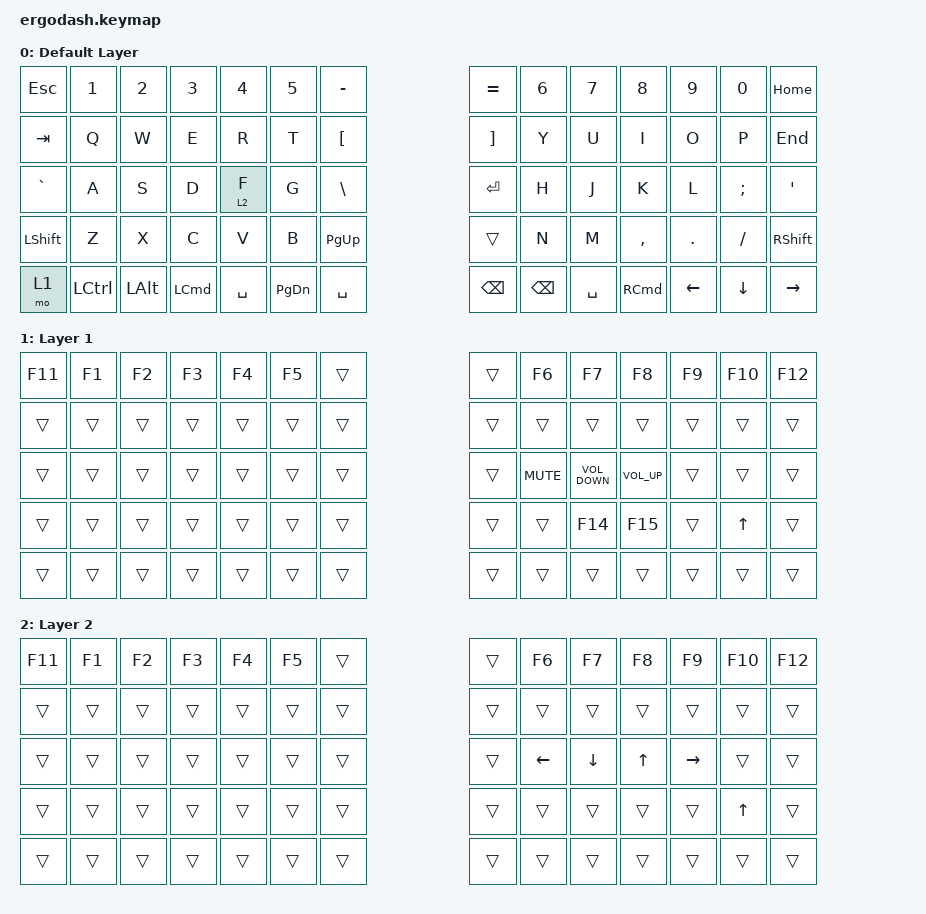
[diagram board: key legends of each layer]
/*
 * Copyright (c) 2020 The ZMK Contributors
 *
 * SPDX-License-Identifier: MIT
 */

#include <behaviors.dtsi>
#include <dt-bindings/zmk/keys.h>
#include <dt-bindings/zmk/bt.h>

#define DEFAULT 0
#define LOWER   1
#define RAISE   2

/ {
    keymap {
        compatible = "zmk,keymap";

        default_layer {
            display-name = "Default Layer";
            bindings = <
&kp ESC    &kp N1     &kp N2        &kp N3            &kp N4     &kp N5  &kp MINUS                                   &kp EQUAL          &kp N6  &kp N7     &kp N8             &kp N9    &kp N0          &kp HOME
&kp TAB    &kp Q      &kp W         &kp E             &kp R      &kp T   &kp LEFT_BRACKET                            &kp RIGHT_BRACKET  &kp Y   &kp U      &kp I              &kp O     &kp P           &kp END
&kp GRAVE  &kp A      &kp S         &kp D             &lt 2 F    &kp G   &kp BACKSLASH                               &kp ENTER          &kp H   &kp J      &kp K              &kp L     &kp SEMI        &kp SQT
&kp LSHFT  &kp Z      &kp X         &kp C             &kp V      &kp B   &kp PG_UP         &trans                                       &kp N   &kp M      &kp COMMA          &kp DOT   &kp SLASH       &kp RSHFT
&mo 1      &kp LCTRL  &kp LEFT_ALT  &kp LEFT_COMMAND  &kp SPACE          &kp PG_DN         &kp SPACE  &kp BACKSPACE  &kp BACKSPACE              &kp SPACE  &kp RIGHT_COMMAND  &kp LEFT  &kp DOWN_ARROW  &kp RIGHT
            >;
        };

        layer1 {
            display-name = "Layer 1";
            bindings = <
&kp F11  &kp F1  &kp F2  &kp F3  &kp F4  &kp F5  &trans                  &trans  &kp F6      &kp F7             &kp F8           &kp F9  &kp F10       &kp F12
&trans   &trans  &trans  &trans  &trans  &trans  &trans                  &trans  &trans      &trans             &trans           &trans  &trans        &trans
&trans   &trans  &trans  &trans  &trans  &trans  &trans                  &trans  &kp C_MUTE  &kp C_VOLUME_DOWN  &kp C_VOLUME_UP  &trans  &trans        &trans
&trans   &trans  &trans  &trans  &trans  &trans          &trans  &trans          &trans      &kp F14            &kp F15          &trans  &kp UP_ARROW  &trans
&trans   &trans  &trans  &trans  &trans          &trans  &trans  &trans  &trans              &trans             &trans           &trans  &trans        &trans
            >;
        };

        layer2 {
            display-name = "Layer 2";
            bindings = <
&kp F11  &kp F1  &kp F2  &kp F3  &kp F4  &kp F5  &trans                  &trans  &kp F6      &kp F7             &kp F8           &kp F9     &kp F10       &kp F12
&trans   &trans  &trans  &trans  &trans  &trans  &trans                  &trans  &trans      &trans             &trans           &trans     &trans        &trans
&trans   &trans  &trans  &trans  &trans  &trans  &trans                  &trans  &kp LEFT    &kp DOWN           &kp UP           &kp RIGHT  &trans        &trans
&trans   &trans  &trans  &trans  &trans  &trans          &trans  &trans          &trans      &trans             &trans           &trans     &kp UP_ARROW  &trans
&trans   &trans  &trans  &trans  &trans          &trans  &trans  &trans  &trans              &trans             &trans           &trans     &trans        &trans
            >;
        };
    };
};
